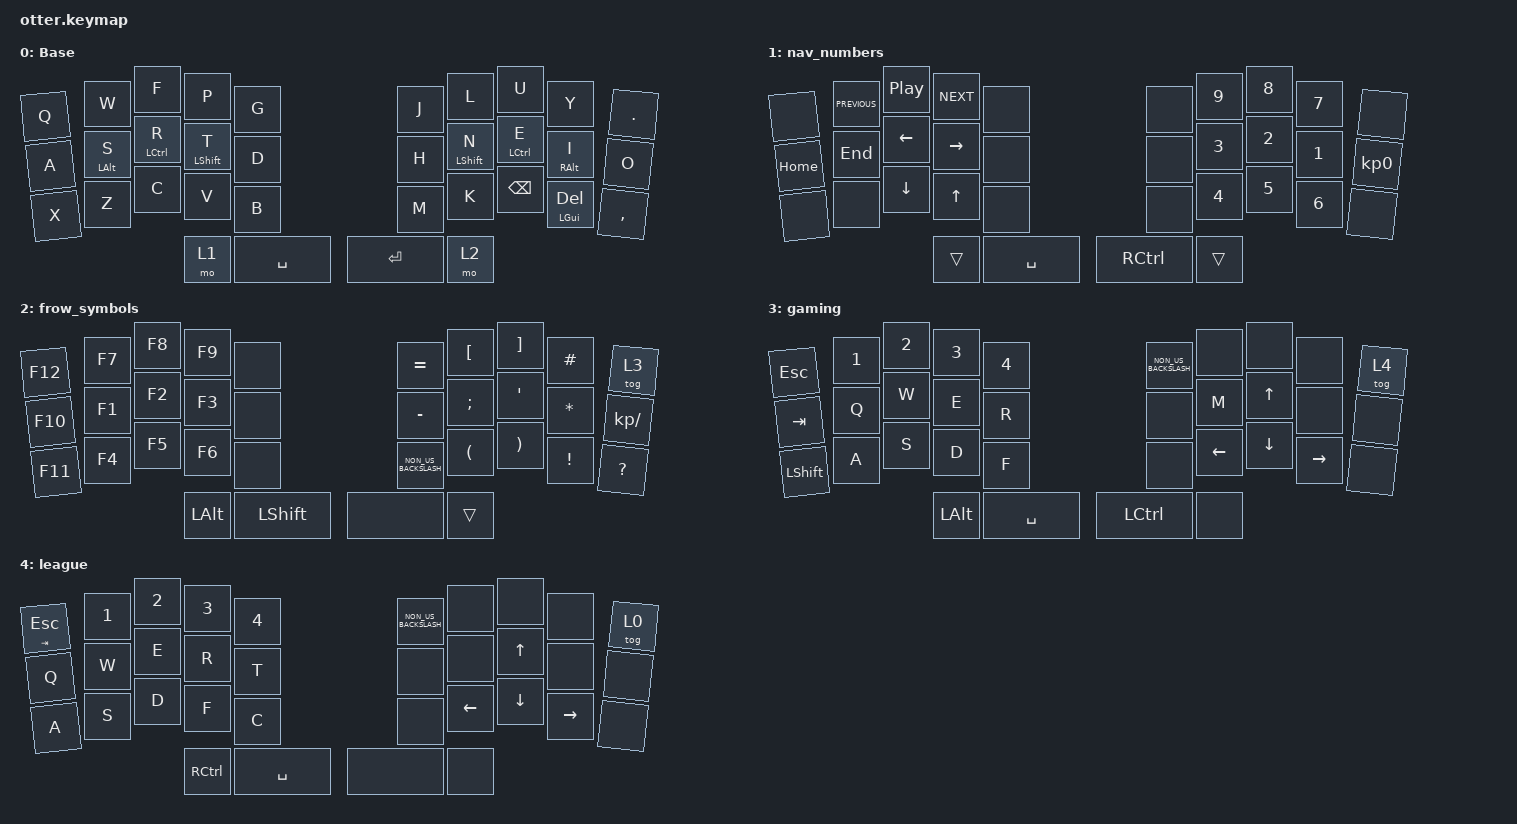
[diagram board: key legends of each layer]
#include <behaviors.dtsi>
#include <dt-bindings/zmk/keys.h>

/ {
    combos {
        compatible = "zmk,combos";

        alt_r {
            bindings = <&alt_r>;
            key-positions = <11 12>;
            layers = <0>;
        };

        tab {
            bindings = <&kp TAB>;
            key-positions = <21 22>;
            layers = <0>;
            timeout-ms = <35>;
        };

        shift_6 {
            bindings = <&kp CARET>;
            key-positions = <6 7>;
            layers = <2>;
            timeout-ms = <35>;
        };

        at {
            bindings = <&kp AT_SIGN>;
            key-positions = <16 17>;
            layers = <2>;
            timeout-ms = <35>;
        };

        less_than {
            bindings = <&kp LESS_THAN>;
            key-positions = <17 18>;
            layers = <2>;
            timeout-ms = <35>;
        };

        more_than {
            bindings = <&kp GREATER_THAN>;
            key-positions = <27 28>;
            layers = <2>;
            timeout-ms = <35>;
        };

        prtsc {
            bindings = <&kp PRINTSCREEN>;
            key-positions = <21 22 20>;
            layers = <0>;
            timeout-ms = <35>;
        };

        esc {
            bindings = <&kp ESC>;
            key-positions = <11 10>;
            layers = <0>;
            timeout-ms = <35>;
        };

        z {
            bindings = <&kp Z>;
            key-positions = <20 21>;
            layers = <4>;
            timeout-ms = <35>;
        };
    };

    macros {
        alt_r: alt_r {
            compatible = "zmk,behavior-macro";
            #binding-cells = <0>;
            bindings = <&kp LA(R)>;
            label = "ALT_R";
        };
    };

    behaviors {
        ht: ht {
            compatible = "zmk,behavior-hold-tap";
            label = "ht";
            bindings = <&kp>, <&kp>;

            #binding-cells = <2>;
            flavor = "balanced";
            tapping-term-ms = <225>;
        };
    };

    keymap {
        compatible = "zmk,keymap";

        base {
            display-name = "Base";
            bindings = <
&kp Q  &kp W           &kp F        &kp P             &kp G      &kp J      &kp L         &kp U        &kp Y                &kp DOT
&kp A  &ht LEFT_ALT S  &ht LCTRL R  &ht LEFT_SHIFT T  &kp D      &kp H      &ht LSHIFT N  &ht LCTRL E  &ht RIGHT_ALT I      &kp O
&kp X  &kp Z           &kp C        &kp V             &kp B      &kp M      &kp K         &kp BSPC     &ht LEFT_GUI DELETE  &kp COMMA
                                    &mo 1             &kp SPACE  &kp ENTER  &mo 2
            >;
        };

        nav_numbers {
            bindings = <
&none     &kp C_PREVIOUS  &kp C_PLAY_PAUSE  &kp C_NEXT    &none      &none      &kp N9        &kp N8  &kp N7        &none
&kp HOME  &kp END         &kp LEFT          &kp RIGHT     &none      &none      &kp N3        &kp N2  &kp N1        &kp KP_NUMBER_0
&none     &none           &kp DOWN          &kp UP_ARROW  &none      &none      &kp NUMBER_4  &kp N5  &kp NUMBER_6  &none
                                            &trans        &kp SPACE  &kp RCTRL  &trans
            >;
        };

        frow_symbols {
            bindings = <
&kp F12  &kp F7  &kp F8  &kp F9    &none       &kp EQUAL             &kp LEFT_BRACKET      &kp RIGHT_BRACKET      &kp POUND        &tog 3
&kp F10  &kp F1  &kp F2  &kp F3    &none       &kp MINUS             &kp SEMICOLON         &kp SQT                &kp ASTERISK     &kp KP_SLASH
&kp F11  &kp F4  &kp F5  &kp F6    &none       &kp NON_US_BACKSLASH  &kp LEFT_PARENTHESIS  &kp RIGHT_PARENTHESIS  &kp EXCLAMATION  &kp QUESTION
                         &kp LALT  &kp LSHIFT  &none                 &trans
            >;
        };

        gaming {
            bindings = <
&kp ESC    &kp N1  &kp N2  &kp N3    &kp N4     &kp NON_US_BACKSLASH  &none     &none         &none      &tog 4
&kp TAB    &kp Q   &kp W   &kp E     &kp R      &none                 &kp M     &kp UP_ARROW  &none      &none
&kp LSHFT  &kp A   &kp S   &kp D     &kp F      &none                 &kp LEFT  &kp DOWN      &kp RIGHT  &none
                           &kp LALT  &kp SPACE  &kp LCTRL             &none
            >;
        };

        league {
            bindings = <
&ht TAB ESCAPE  &kp N1  &kp N2  &kp N3     &kp N4     &kp NON_US_BACKSLASH  &none     &none         &none      &tog 0
&kp Q           &kp W   &kp E   &kp R      &kp T      &none                 &none     &kp UP_ARROW  &none      &none
&kp A           &kp S   &kp D   &kp F      &kp C      &none                 &kp LEFT  &kp DOWN      &kp RIGHT  &none
                                &kp RCTRL  &kp SPACE  &none                 &none
            >;
        };
    };
};
